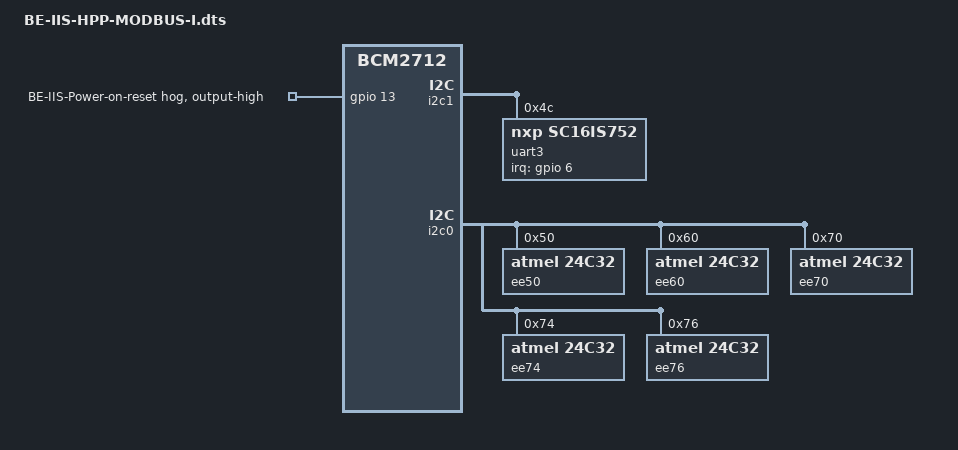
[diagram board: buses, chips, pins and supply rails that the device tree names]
// Raspberry Pi DT overlay: Analog Devices ADIN1110 on SPI0 (CE0)
// IRQ: BCM GPIO6 (active low / level low)
// SPI must be enabled in config.txt:
//     dtparam=spi=on
//
// Supported Raspberry Pi models (SPI0-based):
//   - Raspberry Pi Zero / Zero W / Zero 2 W
//   - Raspberry Pi 1 (A/B/B+)
//   - Raspberry Pi 2 (v1.1 / v1.2)
//   - Raspberry Pi 3 (3A+, 3B, 3B+)
//   - Raspberry Pi 4 (4B, 400, CM4)
//   - Raspberry Pi 5
//
// Notes:
//   - Uses SPI0 + CE0
//   - Uses BCM GPIO numbering
//   - Works across bcm2835 / bcm2711 / bcm2712
//   - ADIN1110 requires an external PHY subnode
//   - INT_N is usually active low, therefore LEVEL_LOW is used here


/dts-v1/;
/plugin/;

#include <dt-bindings/interrupt-controller/irq.h>
#include <dt-bindings/gpio/gpio.h>


/ {
	compatible = "brcm,bcm2835", "brcm,bcm2711", "brcm,bcm2712";

	fragment@0 {
		target = <&i2c1>;
		__overlay__ {
			#address-cells = <1>;
			#size-cells = <0>;
			status = "okay";

			uart3: sc16is752@4C {
				compatible = "nxp,sc16is752";
				reg = <0x4C>;

				clocks = <&sc16is752_CLK_MODBUS_I>;

				interrupt-parent = <&gpio>;
				interrupts = <6 IRQ_TYPE_LEVEL_LOW>;

				status = "okay";
			};
		};
	};

	/* disable spidev on CE0 so the kernel can bind the LAN865x driver */
	fragment@1 {
		target = <&spidev0>;
		__overlay__ {
			status = "disabled";
		};
	};
	
	/* disable spidev on CE1 so the kernel can bind the LAN865x driver */
	fragment@3 {
		target = <&spidev1>;
		__overlay__ {
		status = "disabled";
		};
	};
	
	/* GPIO5,GPIO6,GPIO12,GPIO17,GPIO27 as input, no pull (IRQ pin) */
	fragment@2 {
	    target = <&gpio>;
	    __overlay__ {
		be_iis_shared_irq_pins: be-iis-shared-irq-pins {
			brcm,pins = <5 6 12 17 27>;
			brcm,function = <0 0 0 0 0>;
			brcm,pull = <2 2 2 2 2>;
		};
	    };
	};
	
	
	fragment@9 {
		target = <&i2c0>;
		__overlay__ {
			#address-cells = <1>;
			#size-cells = <0>;

			ee50: eeprom@50 {
				compatible = "atmel,24c32";
				reg = <0x50>;
				status = "okay";
			};
			
			ee60: eeprom@60 {
				compatible = "atmel,24c32";
				reg = <0x60>;
				status = "okay";
			};

			ee70: eeprom@70 {
				compatible = "atmel,24c32";
				reg = <0x70>;
				status = "okay";
			};
			
			ee74: eeprom@74 {
				compatible = "atmel,24c32";
				reg = <0x74>;
				status = "okay";
			};
			
			ee76: eeprom@76 {
				compatible = "atmel,24c32";
				reg = <0x76>;
				status = "okay";
			};
		};
	};

	fragment@10 {
		target = <&gpio>;
		__overlay__ {
			be_iis_porst: be-iis-porst {
				gpio-hog;
				gpios = <13 GPIO_ACTIVE_HIGH>;
				output-high;
				line-name = "BE-IIS-Power-on-reset";
			};
		};
	};

	fragment@30 {
	target-path = "/clocks";
	__overlay__ {
		sc16is752_CLK_MODBUS_I: sc16is752_CLK_MODBUS_I{
			compatible = "fixed-clock";
			#clock-cells = <0>;
			clock-frequency = <22118400>;
			};
		};
	};
	
	__overrides__ {
		int_pin = <&uart3>, "interrupts:0";
	};
};
